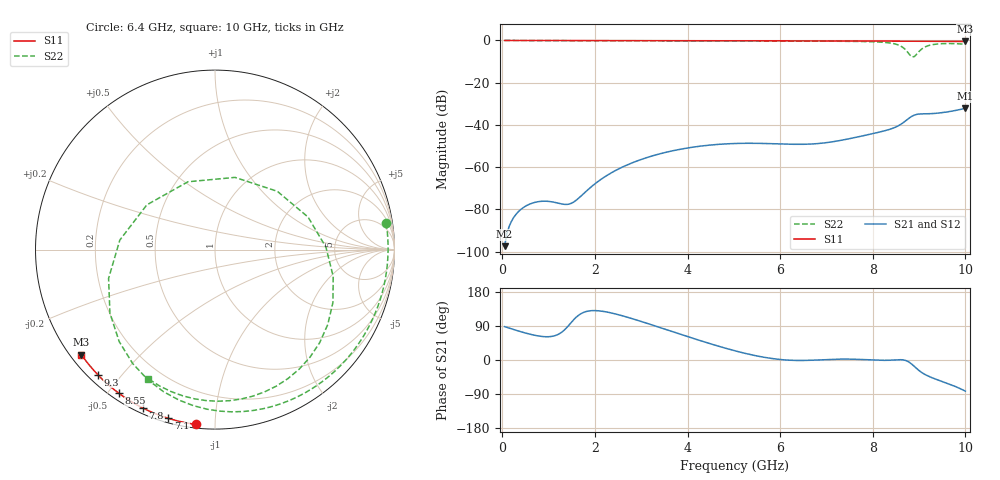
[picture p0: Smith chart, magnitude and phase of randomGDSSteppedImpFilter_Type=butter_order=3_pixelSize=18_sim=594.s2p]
! freq	dB(S11)	phase(S11)	dB(S12)	phase(S12)
!  dB(S21)	phase(S21)	dB(S22)	phase(S22)
!S-par simulation data
#  GHz  S  DB  R 50
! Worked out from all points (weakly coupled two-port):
!   200 points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, 50 MHz to 10 GHz, reference 50 ohm
!   highest |S21| = -32.10 dB at 10 GHz (marker M1); lowest = -97.4 dB at 50 MHz (marker M2)
!   lowest |S11| = -0.5 dB at 10 GHz (marker M3), VSWR 36.36, Z = 1.54 - j17.3 ohm
!   |S11| at or under -10 dB: nowhere
!   |S22| runs from -7.8 to 0.0 dB; largest |S21 - S12| = 0
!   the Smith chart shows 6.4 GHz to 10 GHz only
!   S11 on the Smith chart (normalised r, x): 6.4 GHz: 0.02, -0.90; 7.1 GHz: 0.02, -0.76; 7.8 GHz: 0.02, -0.64; 8.55 GHz: 0.02, -0.53; 9.3 GHz: 0.03, -0.43; 10 GHz: 0.03, -0.35
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0.05  -0.00 -0.8  -97.40 88.0  -97.40 88.0  -0.00 -3.2
0.45  -0.01 -7.4  -79.19 72.9  -79.19 72.9  -0.04 -28.8
0.95  -0.02 -15.5  -76.12 61.4  -76.12 61.4  -0.08 -60.0
1.45  -0.03 -23.6  -77.44 93.5  -77.44 93.5  -0.11 -90.0
1.75  -0.04 -28.4  -72.66 125.3  -72.66 125.3  -0.13 -107.5
2.6  -0.05 -41.7  -59.89 116.4  -59.89 116.4  -0.17 -154.8
3.4  -0.07 -54.0  -53.69 85.9  -53.69 85.9  -0.21 162.3
4.25  -0.09 -66.5  -50.12 52.1  -50.12 52.1  -0.24 117.2
5.05  -0.12 -77.9  -48.77 23.5  -48.77 23.5  -0.27 75.4
5.75  -0.15 -87.6  -48.83 5.2  -48.83 5.2  -0.28 40.1
6.4  -0.18 -96.3  -49.19 -1.2  -49.19 -1.2  -0.30 8.8
6.7  -0.19 -100.2  -49.00 -0.5  -49.00 -0.5  -0.32 -5.2
7.1  -0.22 -105.5  -48.08 1.7  -48.08 1.7  -0.36 -23.7
7.8  -0.27 -114.4  -45.09 1.1  -45.09 1.1  -0.52 -58.1
8.35  -0.31 -121.3  -42.19 -0.7  -42.19 -0.7  -1.13 -97.9
8.55  -0.33 -123.8  -40.42 0.7  -40.42 0.7  -2.12 -125.8
8.75  -0.35 -126.3  -37.36 -3.2  -37.36 -3.2  -5.47 174.3
8.9  -0.36 -128.2  -35.33 -17.3  -35.33 -17.3  -7.59 74.5
9.05  -0.37 -130.1  -34.77 -32.4  -34.77 -32.4  -4.18 1.2
9.3  -0.40 -133.2  -34.60 -47.8  -34.60 -47.8  -1.94 -48.6
9.65  -0.44 -137.5  -33.69 -63.5  -33.69 -63.5  -1.46 -84.5
10  -0.48 -141.9  -32.10 -82.2  -32.10 -82.2  -1.83 -117.3
